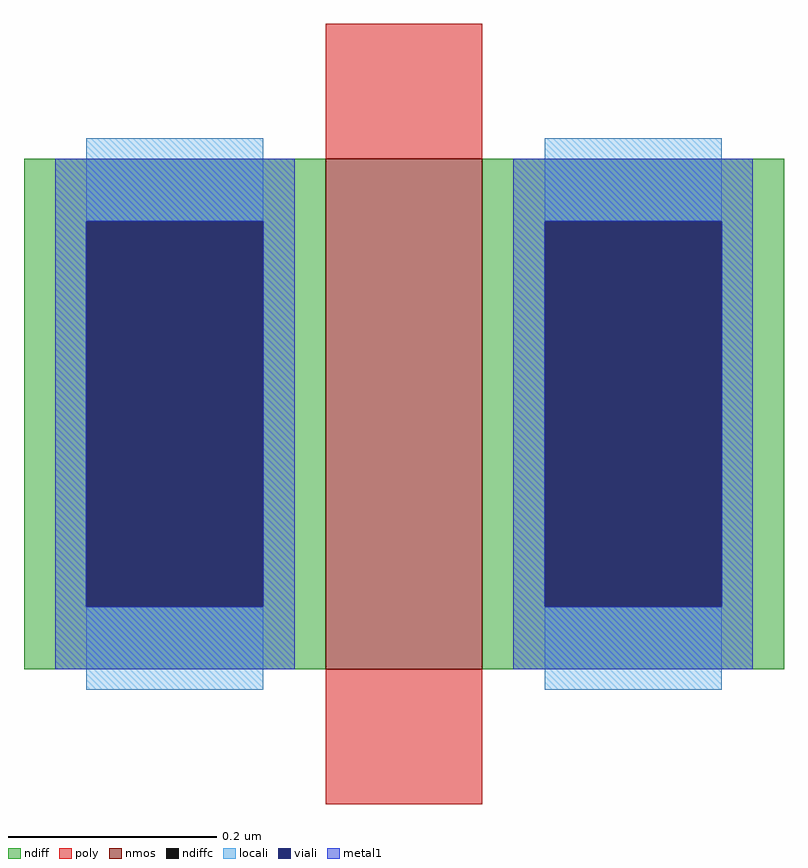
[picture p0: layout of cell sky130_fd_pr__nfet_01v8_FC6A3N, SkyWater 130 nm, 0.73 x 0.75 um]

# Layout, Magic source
magic
tech sky130A
magscale 1 2
<< nmos >>
rect -15 -49 15 49
<< ndiff >>
rect -73 37 -15 49
rect -73 -37 -61 37
rect -27 -37 -15 37
rect -73 -49 -15 -37
rect 15 37 73 49
rect 15 -37 27 37
rect 61 -37 73 37
rect 15 -49 73 -37
<< ndiffc >>
rect -61 -37 -27 37
rect 27 -37 61 37
<< poly >>
rect -15 49 15 75
rect -15 -75 15 -49
<< locali >>
rect -61 37 -27 53
rect -61 -53 -27 -37
rect 27 37 61 53
rect 27 -53 61 -37
<< viali >>
rect -61 -37 -27 37
rect 27 -37 61 37
<< metal1 >>
rect -67 37 -21 49
rect -67 -37 -61 37
rect -27 -37 -21 37
rect -67 -49 -21 -37
rect 21 37 67 49
rect 21 -37 27 37
rect 61 -37 67 37
rect 21 -49 67 -37
<< properties >>
string gencell sky130_fd_pr__nfet_01v8
string parameters w 0.49 l 0.150 m 1 nf 1 diffcov 100 polycov 100 guard 0 glc 0 grc 0 gtc 0 gbc 0 tbcov 100 rlcov 100 topc 0 botc 0 poverlap 0 doverlap 1 lmin 0.15 wmin 0.42 compatible {sky130_fd_pr__nfet_01v8 sky130_fd_pr__nfet_01v8_lvt  sky130_fd_bs_flash__special_sonosfet_star  sky130_fd_pr__nfet_g5v0d10v5 sky130_fd_pr__nfet_05v0_nvt} full_metal 0 viasrc 100 viadrn 100 viagate 100 viagb 0 viagr 0 viagl 0 viagt 0
string library sky130
<< end >>
